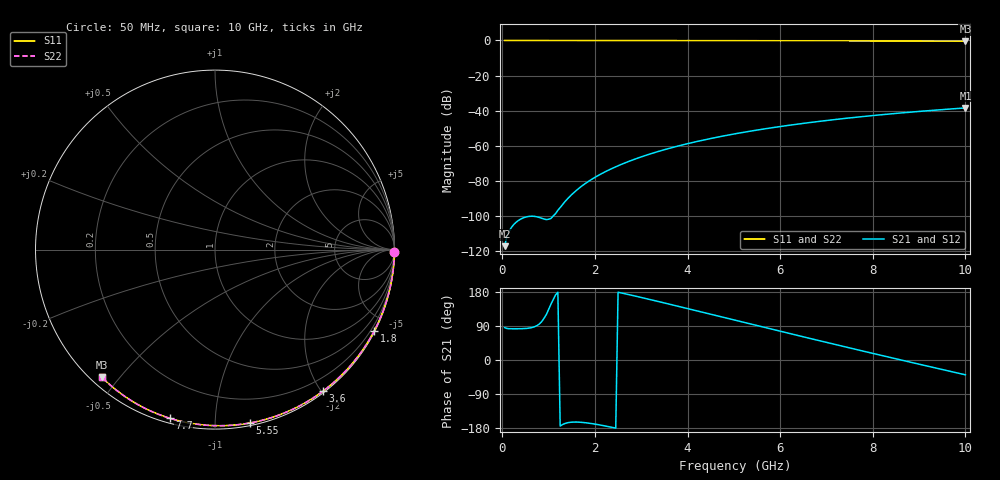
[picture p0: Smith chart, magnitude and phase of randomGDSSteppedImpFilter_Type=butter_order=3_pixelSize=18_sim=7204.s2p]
! freq	dB(S11)	phase(S11)	dB(S12)	phase(S12)
!  dB(S21)	phase(S21)	dB(S22)	phase(S22)
!S-par simulation data
#  GHz  S  DB  R 50
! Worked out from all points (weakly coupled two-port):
!   200 points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, 50 MHz to 10 GHz, reference 50 ohm
!   highest |S21| = -38.46 dB at 10 GHz (marker M1); lowest = -117.3 dB at 50 MHz (marker M2)
!   lowest |S11| = -0.4 dB at 10 GHz (marker M3), VSWR 39.07, Z = 1.54 - j22.5 ohm
!   |S11| at or under -10 dB: nowhere
!   |S22| runs from -0.4 to 0.0 dB; largest |S21 - S12| = 0
!   S11 on the Smith chart (normalised r, x): 50 MHz: open; 1.8 GHz: 0.04, -4.18; 3.6 GHz: 0.02, -2.02; 5.55 GHz: 0.02, -1.22; 7.7 GHz: 0.02, -0.77; 10 GHz: 0.03, -0.45
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0.05  -0.00 -0.8  -117.26 85.5  -117.26 85.5  -0.00 -0.8
0.9  -0.02 -13.6  -101.79 109.8  -101.79 109.8  -0.02 -13.6
1.75  -0.03 -26.2  -82.35 -164.9  -82.35 -164.9  -0.03 -26.2
1.8  -0.03 -26.9  -81.41 -165.6  -81.41 -165.6  -0.03 -26.9
1.85  -0.04 -27.7  -80.52 -166.3  -80.52 -166.3  -0.04 -27.7
1.9  -0.04 -28.4  -79.66 -167.2  -79.66 -167.2  -0.04 -28.4
2.05  -0.04 -30.6  -77.28 -170.2  -77.28 -170.2  -0.04 -30.6
2.25  -0.04 -33.5  -74.47 -174.8  -74.47 -174.8  -0.04 -33.5
2.45  -0.05 -36.4  -71.99 -179.8  -71.99 -179.8  -0.05 -36.4
2.65  -0.05 -39.3  -69.77 174.8  -69.77 174.8  -0.05 -39.3
3  -0.06 -44.3  -66.36 165.1  -66.36 165.1  -0.06 -44.3
3.4  -0.07 -49.9  -63.02 153.5  -63.02 153.5  -0.07 -49.9
3.6  -0.07 -52.7  -61.53 147.6  -61.53 147.6  -0.07 -52.7
4.3  -0.09 -62.2  -57.02 126.8  -57.02 126.8  -0.09 -62.2
5.05  -0.11 -72.2  -53.10 104.3  -53.10 104.3  -0.11 -72.2
5.55  -0.13 -78.7  -50.86 89.4  -50.86 89.4  -0.13 -78.7
6.1  -0.15 -85.6  -48.69 73.0  -48.69 73.0  -0.15 -85.6
6.7  -0.18 -93.1  -46.59 55.3  -46.59 55.3  -0.18 -93.1
7.7  -0.24 -105.1  -43.60 26.1  -43.60 26.1  -0.24 -105.1
8.35  -0.29 -112.7  -41.93 7.4  -41.93 7.4  -0.29 -112.7
9.15  -0.36 -121.8  -40.13 -15.3  -40.13 -15.3  -0.36 -121.8
10  -0.44 -131.4  -38.46 -39.1  -38.46 -39.1  -0.44 -131.4
